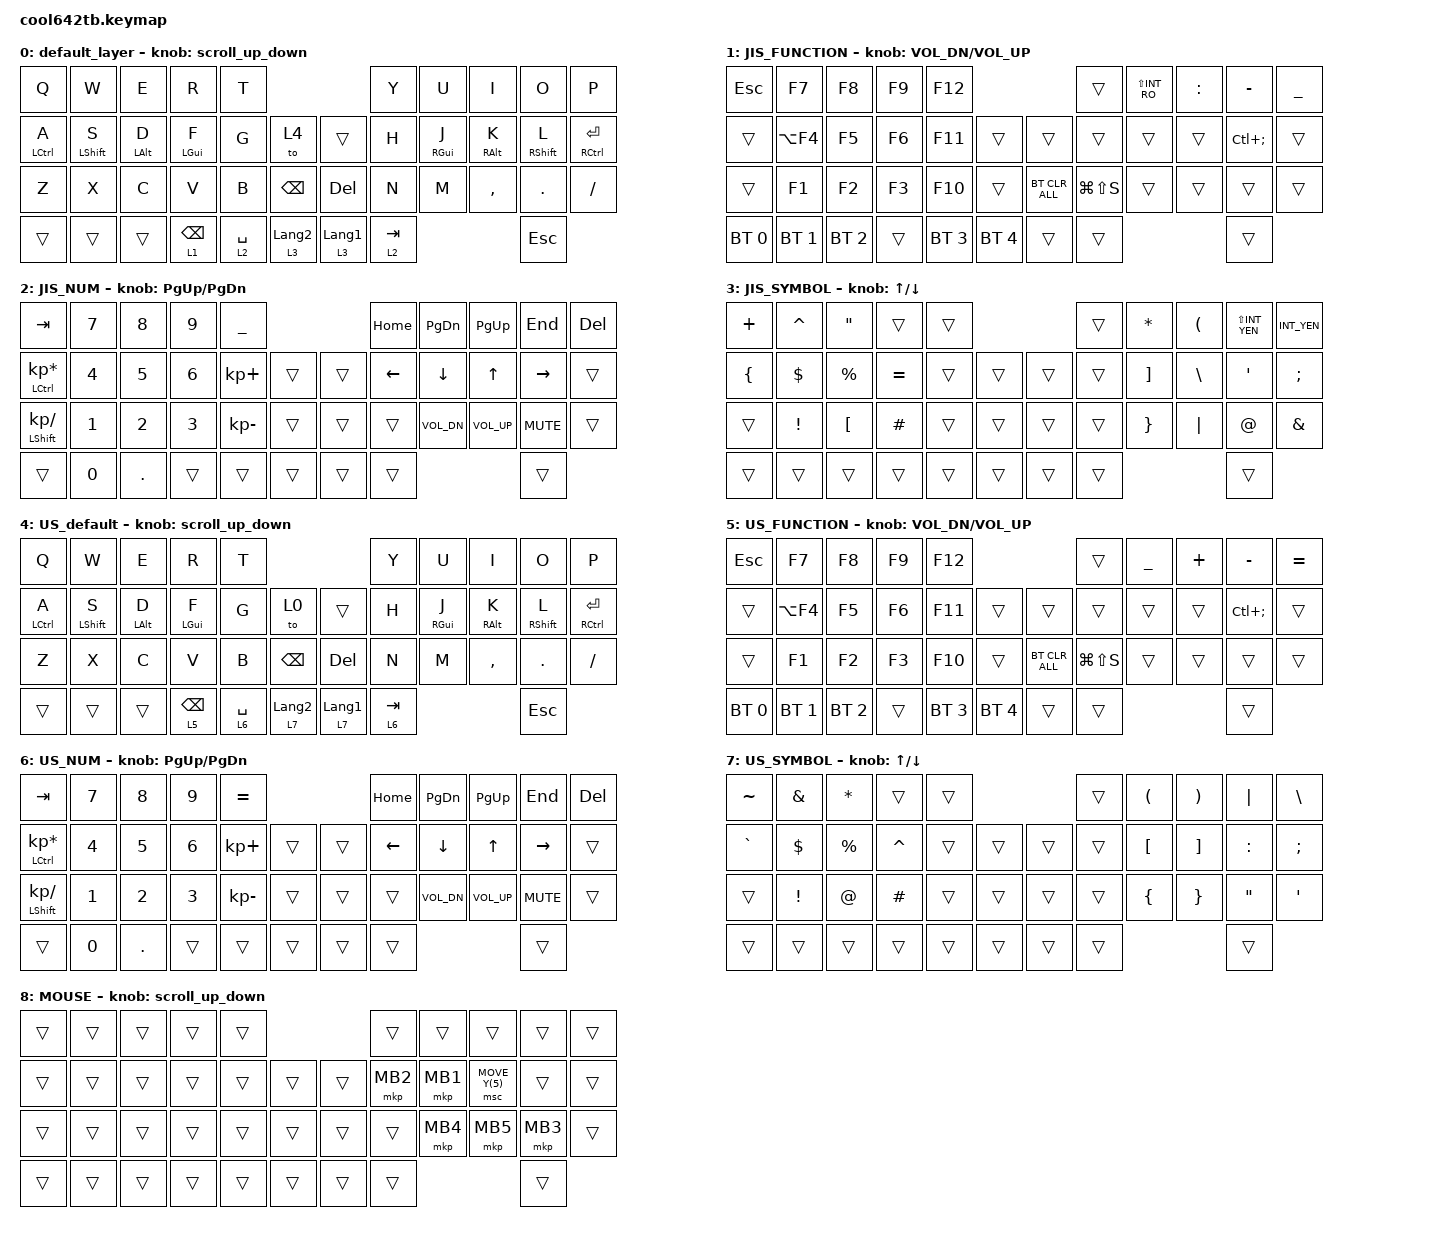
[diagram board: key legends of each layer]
#include <behaviors.dtsi>
#include <dt-bindings/zmk/bt.h>
#include <dt-bindings/zmk/keys.h>
#include <dt-bindings/zmk/pointing.h>

#define ZMK_MOUSE_DEFAULT_SCRL_VAL 100
#define ZMK_POINTING_DEFAULT_SCRL_VAL 100

#define MOUSE 8
#define JP_DQT          AT                // "
#define JP_AMPERSAND    CARET             // &
#define JP_SQT          AMPERSAND         // '
#define JP_EQUAL        UNDER             // =
#define JP_CARET        EQUAL             // ^
#define JP_YEN          INT_YEN           // ¥
#define JP_PLUS         COLON             // +
#define JP_TILDE        PLUS              // ~
#define JP_PIPE         LS(INT_YEN)       // |
#define JP_AT           LEFT_BRACKET      // @
#define JP_COLON        SINGLE_QUOTE      // :
#define JP_ASTERISK     DOUBLE_QUOTES     // *
#define JP_BACKQUOTE    LEFT_BRACE        // `
#define JP_UNDERSCORE   LS(INT_RO)        // _
#define JP_LBRACKET     RIGHT_BRACKET     // [
#define JP_RBRACKET     BACKSLASH         // ]
#define JP_LPAREN       ASTERISK          // (
#define JP_RPAREN       LEFT_PARENTHESIS  // )
#define JP_LBRACE       RIGHT_BRACE       // {
#define JP_RBRACE       PIPE              // }

&mt {
    flavor = "balanced";
    quick-tap-ms = <0>;
};

/ {
    combos {
        compatible = "zmk,combos";

        comb1 {
            bindings = <&kp TAB>;
            key-positions = <11 10>;
        };

        comb2 {
            bindings = <&kp LS(ESCAPE)>;
            key-positions = <0 1>;
        };

        comb3 {
            bindings = <&kp CAPSLOCK>;
            key-positions = <22 23>;
        };

        comb4 {
            bindings = <&kp BACKSPACE>;
            key-positions = <9 8>;
        };

        comb5 {
            bindings = <&bt BT_CLR_ALL>;
            key-positions = <9 8>;
            timeout-ms = <0>;
            layers = <2>;
        };
    };

    macros {
        to_layer_0: to_layer_0 {
            compatible = "zmk,behavior-macro-one-param";
            #binding-cells = <1>;
            bindings = <&to 0 &macro_param_1to1 &kp MACRO_PLACEHOLDER>;
            label = "TO_LAYER_0";
        };
    };

    behaviors {
        lt_to_layer_0: lt_to_layer_0 {
            compatible = "zmk,behavior-hold-tap";
            label = "LAYER_TAP_TO_0";
            bindings = <&mo>, <&to_layer_0>;

            #binding-cells = <2>;
            tapping-term-ms = <200>;
        };

        scroll_up_down: behavior_sensor_rotate_mouse_wheel_up_down {
            compatible = "zmk,behavior-sensor-rotate";
            #sensor-binding-cells = <0>;
            bindings = <&msc SCRL_UP>, <&msc SCRL_DOWN>;

            tap-ms = <40>;
        };

        hm: home_row_mods {
            compatible = "zmk,behavior-hold-tap";
            #binding-cells = <2>;
            tapping-term-ms = <200>;
            quick-tap-ms = <175>;
            flavor = "balanced";  // もしくは "tap-preferred"
            bindings = <&kp>, <&kp>;
        };
    };

    keymap {
        compatible = "zmk,keymap";

//          default_layer {
//              bindings = <
//  &kp Q             &kp W         &kp E         &kp R            &kp T                                            &kp Y      &kp U  &kp I      &kp O       &kp P
//  &mt LCTRL A       &kp S         &kp D         &kp F            &kp G        &to 4             &trans            &kp H      &kp J  &kp K      &kp L       &mt RCTRL ENTER
//  &mt LEFT_SHIFT Z  &kp X         &kp C         &kp V            &kp B        &kp BACKSPACE     &kp DELETE        &kp N      &kp M  &kp COMMA  &kp PERIOD  &mt RIGHT_SHIFT SLASH
//  &kp LCTRL         &kp LEFT_WIN  &kp LEFT_ALT  &lt 1 BACKSPACE  &lt 2 SPACE  &lt 3 LANGUAGE_2  &lt 3 LANGUAGE_1  &lt 2 TAB                                &kp ESCAPE
//              >;
//  
//              sensor-bindings = <&scroll_up_down>;
//          };
        default_layer {
            bindings = <
&kp Q             &kp W         &kp E         &kp R            &kp T                                            &kp Y      &kp U       &kp I           &kp O       &kp P
&hm LCTRL A       &hm LSHFT S   &hm LALT D    &hm LGUI F       &kp G        &to 4             &trans            &kp H      &hm RGUI J  &hm RALT K      &hm RSHFT L &hm RCTRL ENTER
&kp Z             &kp X         &kp C         &kp V            &kp B        &kp BACKSPACE     &kp DELETE        &kp N      &kp M       &kp COMMA       &kp PERIOD  &kp SLASH
&trans            &trans        &trans        &lt 1 BACKSPACE  &lt 2 SPACE  &lt 3 LANGUAGE_2  &lt 3 LANGUAGE_1  &lt 2 TAB                                &kp ESCAPE
            >;

            sensor-bindings = <&scroll_up_down>;
        };

        JIS_FUNCTION {
            bindings = <
&kp ESC       &kp F7        &kp F8        &kp F9  &kp F12                                     &trans         &kp JP_UNDERSCORE  &kp JP_PLUS  &kp MINUS     &kp JP_EQUAL
&trans        &kp LA(F4)    &kp F5        &kp F6  &kp F11       &trans        &trans          &trans         &trans             &trans       &kp LC(SEMI)  &trans
&trans        &kp F1        &kp F2        &kp F3  &kp F10       &trans        &bt BT_CLR_ALL  &kp LG(LS(S))  &trans             &trans       &trans        &trans
&bt BT_SEL 0  &bt BT_SEL 1  &bt BT_SEL 2  &trans  &bt BT_SEL 3  &bt BT_SEL 4  &trans          &trans                                                       &trans
            >;

            sensor-bindings = <&inc_dec_kp C_VOL_DN C_VOL_UP>;
        };

        JIS_NUM {
            bindings = <
&kp TAB                  &kp N7        &kp N8        &kp N9        &kp JP_EQUAL                  &kp HOME  &kp PAGE_DOWN   &kp PAGE_UP      &kp END     &kp DELETE
&mt LCTRL KP_ASTERISK    &kp NUMBER_4  &kp N5        &kp NUMBER_6  &kp KP_PLUS   &trans  &trans  &kp LEFT  &kp DOWN_ARROW  &kp UP_ARROW     &kp RIGHT   &trans
&mt LEFT_SHIFT KP_SLASH  &kp NUMBER_1  &kp NUMBER_2  &kp NUMBER_3  &kp KP_MINUS  &trans  &trans  &trans    &kp C_VOL_DN    &kp C_VOL_UP     &kp K_MUTE  &trans
&trans                   &kp NUMBER_0  &kp PERIOD    &trans        &trans        &trans  &trans  &trans                                                 &trans
            >;

            sensor-bindings = <&inc_dec_kp PG_UP PAGE_DOWN>;
        };

        JIS_SYMBOL {
            bindings = <
&kp JP_TILDE      &kp JP_AMPERSAND  &kp JP_ASTERISK  &trans        &trans                  &trans  &kp JP_LPAREN    &kp JP_RPAREN    &kp JP_PIPE   &kp JP_YEN
&kp JP_BACKQUOTE  &kp DLLR          &kp PRCNT        &kp JP_CARET  &trans  &trans  &trans  &trans  &kp JP_LBRACKET  &kp JP_RBRACKET  &kp JP_COLON  &kp SEMI
&trans            &kp EXCL          &kp JP_AT        &kp HASH      &trans  &trans  &trans  &trans  &kp JP_LBRACE    &kp JP_RBRACE    &kp JP_DQT    &kp JP_SQT
&trans            &trans            &trans           &trans        &trans  &trans  &trans  &trans                                                  &trans
            >;

            sensor-bindings = <&inc_dec_kp UP DOWN_ARROW>;
        };

        US_default {
            bindings = <
&kp Q             &kp W         &kp E         &kp R            &kp T                                            &kp Y      &kp U       &kp I           &kp O       &kp P
&hm LCTRL A       &hm LSHFT S   &hm LALT D    &hm LGUI F       &kp G        &to 0             &trans            &kp H      &hm RGUI J  &hm RALT K      &hm RSHFT L &hm RCTRL ENTER
&kp Z             &kp X         &kp C         &kp V            &kp B        &kp BACKSPACE     &kp DELETE        &kp N      &kp M       &kp COMMA       &kp PERIOD  &kp SLASH
&trans            &trans        &trans        &lt 5 BACKSPACE  &lt 6 SPACE  &lt 7 LANGUAGE_2  &lt 7 LANGUAGE_1  &lt 6 TAB                                &kp ESCAPE
            >;

            sensor-bindings = <&scroll_up_down>;
        };

        US_FUNCTION {
            bindings = <
&kp ESC       &kp F7        &kp F8        &kp F9  &kp F12                                     &trans         &kp UNDERSCORE     &kp PLUS     &kp MINUS     &kp EQUAL
&trans        &kp LA(F4)    &kp F5        &kp F6  &kp F11       &trans        &trans          &trans         &trans             &trans       &kp LC(SEMI)  &trans
&trans        &kp F1        &kp F2        &kp F3  &kp F10       &trans        &bt BT_CLR_ALL  &kp LG(LS(S))  &trans             &trans       &trans        &trans
&bt BT_SEL 0  &bt BT_SEL 1  &bt BT_SEL 2  &trans  &bt BT_SEL 3  &bt BT_SEL 4  &trans          &trans                                                       &trans
            >;

            sensor-bindings = <&inc_dec_kp C_VOL_DN C_VOL_UP>;
        };

        US_NUM {
            bindings = <
&kp TAB                  &kp N7        &kp N8        &kp N9        &kp EQUAL                     &kp HOME  &kp PAGE_DOWN   &kp PAGE_UP  &kp END     &kp DELETE
&mt LCTRL KP_ASTERISK    &kp NUMBER_4  &kp N5        &kp NUMBER_6  &kp KP_PLUS   &trans  &trans  &kp LEFT  &kp DOWN_ARROW  &kp UP_ARROW &kp RIGHT   &trans
&mt LEFT_SHIFT KP_SLASH  &kp NUMBER_1  &kp NUMBER_2  &kp NUMBER_3  &kp KP_MINUS  &trans  &trans  &trans    &kp C_VOL_DN    &kp C_VOL_UP &kp K_MUTE  &trans
&trans                   &kp NUMBER_0  &kp PERIOD    &trans        &trans        &trans  &trans  &trans                                             &trans
            >;

            sensor-bindings = <&inc_dec_kp PG_UP PAGE_DOWN>;
        };

        US_SYMBOL {
            bindings = <
&kp TILDE  &kp AMPS  &kp STAR   &trans     &trans                  &trans  &kp LPAR  &kp RPAR  &kp PIPE   &kp BSLH
&kp GRAVE  &kp DLLR  &kp PRCNT  &kp CARET  &trans  &trans  &trans  &trans  &kp LBKT  &kp RBKT  &kp COLON  &kp SEMI
&trans     &kp EXCL  &kp AT     &kp HASH   &trans  &trans  &trans  &trans  &kp LBRC  &kp RBRC  &kp DQT    &kp SQT
&trans     &trans    &trans     &trans     &trans  &trans  &trans  &trans                                 &trans
            >;

            sensor-bindings = <&inc_dec_kp UP DOWN_ARROW>;
        };

        MOUSE {
            bindings = <
&trans  &trans  &trans  &trans  &trans                  &trans    &trans    &trans          &trans    &trans
&trans  &trans  &trans  &trans  &trans  &trans  &trans  &mkp MB2  &mkp MB1  &msc MOVE_Y(5)  &trans    &trans
&trans  &trans  &trans  &trans  &trans  &trans  &trans  &trans    &mkp MB4  &mkp MB5        &mkp MB3  &trans
&trans  &trans  &trans  &trans  &trans  &trans  &trans  &trans                                        &trans
            >;

            sensor-bindings = <&scroll_up_down>;
        };
    };
};
